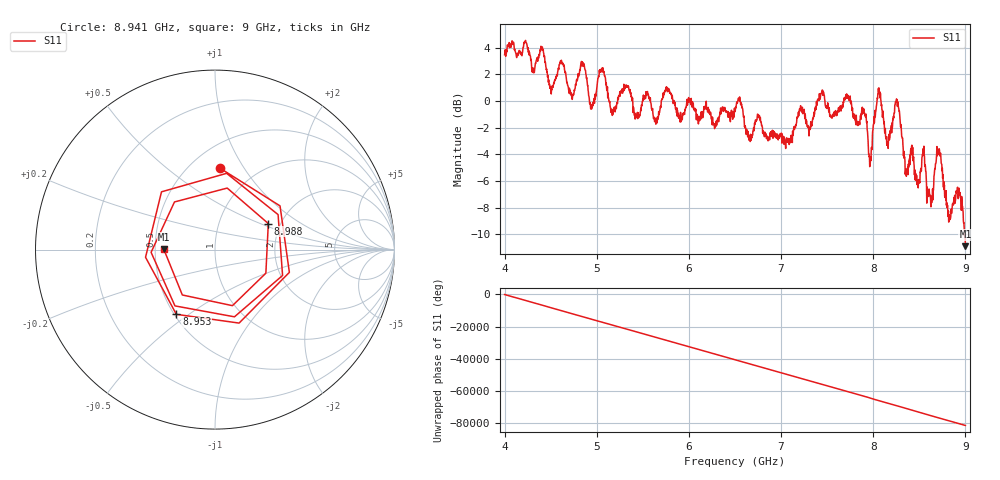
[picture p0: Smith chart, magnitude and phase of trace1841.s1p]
! Created with skrf 1.8.0 (http://scikit-rf.org).
# Hz S RI R 50.0
!freq ReS11 ImS11
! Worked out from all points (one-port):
!   1601 points, 4 GHz to 9 GHz, reference 50 ohm
!   lowest |S11| = -10.9 dB at 9 GHz (marker M1), VSWR 1.80, Z = 27.8 + j0.165 ohm
!   |S11| at or under -10 dB: 8.990352 GHz to 8.991795 GHz (1.443 MHz wide, 0.016 % of centre); 8.996078 GHz to end of sweep
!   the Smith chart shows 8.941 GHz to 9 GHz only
!   S11 on the Smith chart (normalised r, x): 8.941 GHz: 0.69, +0.79; 8.953 GHz: 0.51, -0.45; 8.988 GHz: 1.73, +0.56; 9 GHz: 0.56, +0.00
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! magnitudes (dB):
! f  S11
! 4 GHz  3.5
! 4.409 GHz  4.1
! 4.506 GHz  0.5
! 4.625 GHz  2.9
! 4.725 GHz  0.5
! 4.847 GHz  2.9
! 4.944 GHz  -0.6
! 5.053 GHz  2.4
! 5.162 GHz  -0.9
! 5.25 GHz  0.7
! 5.875 GHz  -0.7
! 6.5 GHz  -0.7
! 7.125 GHz  -2.3
! 7.75 GHz  0.4
! 7.906 GHz  -0.9
! 7.966 GHz  -4.8
! 8.059 GHz  0.7
! 8.156 GHz  -3.2
! 8.259 GHz  0.1
! 8.375 GHz  -5.0
! 8.547 GHz  -3.7
! 8.622 GHz  -7.3
! 8.709 GHz  -4.0
! 8.819 GHz  -9.1
! 8.941 GHz  -6.9
! 8.953 GHz  -7.5
! 8.988 GHz  -9.6
! 9 GHz  -10.9
